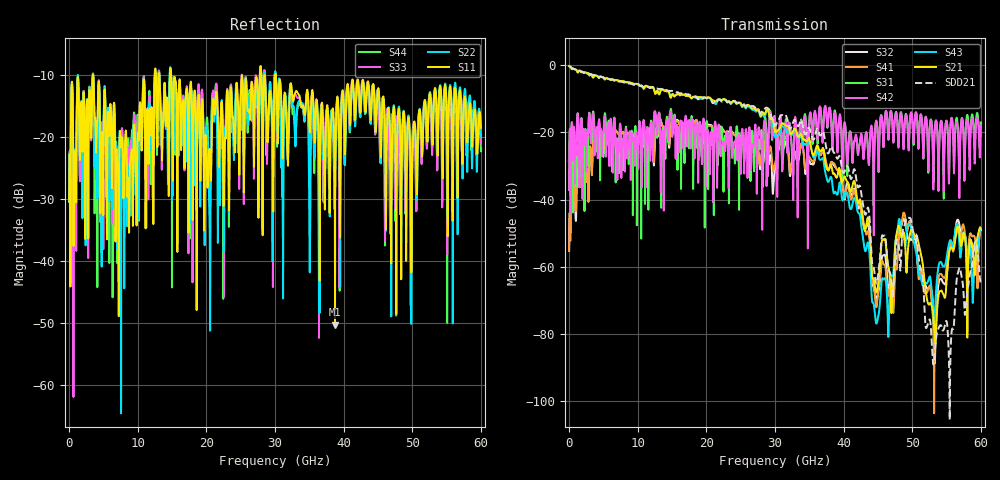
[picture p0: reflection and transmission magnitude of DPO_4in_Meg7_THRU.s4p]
! Tyco Electronics Strada Whisper System
! THRU_G1112
!! SYSTEM DESCRIPTION: Daughtercard-Footprint-Connector-Footprint-Daughtercard
!! PCB DESCRIPTION: DC: 140mil, Megtron7N, upper layer route, 15mil stub, 6-6-6mil 4" traces
!! CONNECTOR DESCRIPTION: Next-Gen STRADA Whisper Direct-Plug Orthogonal Connector
!! MODEL DESCRIPTION: Tyco Electronics System 4-port S-parameter
!! MODEL STATUS: Developmental
!! MODEL GEOMETRY: Channel Model
!! MODEL FREQUENCY RANGE: DC to 60 GHz in 10 MHz frequency steps
!! MODEL EDGE RATE LIMITATION: 8.3 ps (Using conservative 0.5/Fmax rule of thumb)
!! TIME-DOMAIN TRANSFORM CAUTIONS:
!! 1.) Do not simulate transient edge rates faster than the number listed above.  Edge rates faster than this number
!!  contain significant spectral content at frequencies above the model's highest frequency.
!! 2.) Even when simulating edge rates that are slower than the number listed above, be aware that the best time
!!  resolution possible with a direct iFFT is (1 / 2Fmax).  As a result, time resolution is typically not adequate
!!  for most time-domain simulations unless tricks such as windowing are used to minimize leakage and aliasing.
!! 3.) Because the model has a uniform frequency step, a direct iFFT will result in an impulse that that has a time
!!  length given by either (1 / Fstep) or (1 / 2Fstep), depending on the transform being used.  Care has been taken
!!  in selecting the frequency step to ensure a settled impulse response for the model.  Therefore, convolution with
!!  the model's impulse response should present no issues.  However, if directly concatenating s-parameter models
!!  in the frequency domain a user must either interpolate necessary interim frequencies or complete impulse response
!!  zero-padding.  Impulse response zero-padding is more difficult, but more accurate.
!! PORT DEFINITIONS:
!! Port  1  ----->  TX Side  G11  RX Side  <-----  Port  2
!! Port  3  ----->  TX Side  G12  RX Side  <-----  Port  4
! Touchstone data
! Created: 10-Dec-2018 by IdEM R2012 (8.0.5)
# Hz S MA R 50
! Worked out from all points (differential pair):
!   6000 points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, 10 MHz to 60 GHz, reference 50 ohm
!   strongest paths, dB at 10 MHz, 15.01 GHz, 30.01 GHz, 45.01 GHz, 60 GHz:
!     S21: -0.3, -8.8, -19.6, -65.5, -48.7
!     S43: -0.3, -8.7, -21.4, -75.1, -48.8
!     S42: -37.1, -20.7, -16.9, -23.6, -18.0
!     S31: -37.1, -16.4, -16.0, -23.8, -17.0
!     S41: -55.2, -16.8, -29.4, -67.9, -48.8
!     S32: -55.2, -17.1, -30.7, -68.1, -49.0
!   taken as a pair (ports 1,3 in; 2,4 out), SDD21 dB: -0.3, -7.6, -18.0, -62.6, -65.2
!   lowest |S11| = -50.3 dB at 38.75 GHz (marker M1), VSWR 1.01, Z = 49.7 + j0.0608 ohm
!   |S11| at or under -10 dB: 3.53 GHz to 12.48 GHz (8.954 GHz wide, 112 % of centre); 14.89 GHz to 25.19 GHz (10.3 GHz wide, 51.4 % of centre); 30.13 GHz to end of sweep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
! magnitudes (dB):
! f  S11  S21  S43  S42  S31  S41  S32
! 10 MHz  -30.4  -0.3  -0.3  -37.1  -37.1  -55.2  -55.2
! 6.88 GHz  -22.1  -4.4  -4.4  -21.8  -23.1  -19.9  -19.7
! 38.75 GHz  -50.3  -32.6  -37.6  -14.0  -13.5  -29.7  -30.3
! 44.83 GHz  -15.3  -67.5  -76.7  -16.9  -17.0  -71.7  -69.5
! 48.08 GHz  -15.5  -47.8  -45.8  -21.1  -20.1  -49.9  -50.3
! 53.31 GHz  -12.1  -81.9  -75.4  -18.3  -18.2  -78.1  -88.5
! 60 GHz  -18.5  -48.7  -48.8  -18.0  -17.0  -48.8  -49.0
